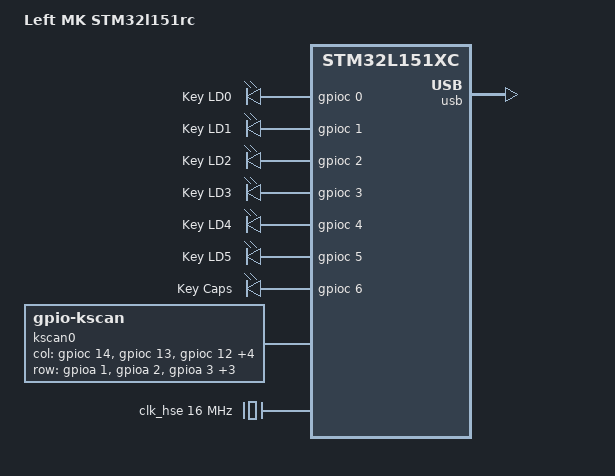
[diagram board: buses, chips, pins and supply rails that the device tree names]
/dts-v1/;
#include <st/l1/stm32l151Xc.dtsi>
#include <st/l1/stm32l151rctx-pinctrl.dtsi>
#include <zephyr/dt-bindings/pinctrl/stm32-pinctrl.h>

#include "leftmk_l1-pinctrl.dtsi"

// NOTE: We are a category 3 device in the reference manual

/ {
	model = "Left MK STM32l151rc";
	compatible = "leftmk_l1";

	chosen {
		zephyr,console = &cdc_acm_uart0;
		zephyr,sram = &sram0;
		zephyr,flash = &flash0;
		zephyr,keyboard-scan = &kscan0;
	};

	leds {
		compatible = "gpio-leds";
		led0: ld0 {
			gpios = <&gpioc 0 GPIO_ACTIVE_HIGH>;
			label = "Key LD0";
		};
		led1: ld1 {
			gpios = <&gpioc 1 GPIO_ACTIVE_HIGH>;
			label = "Key LD1";
		};
		led2: ld2 {
			gpios = <&gpioc 2 GPIO_ACTIVE_HIGH>;
			label = "Key LD2";
		};
		led3: ld3 {
			gpios = <&gpioc 3 GPIO_ACTIVE_HIGH>;
			label = "Key LD3";
		};
		led4: ld4 {
			gpios = <&gpioc 4 GPIO_ACTIVE_HIGH>;
			label = "Key LD4";
		};
		led5: ld5 {
			gpios = <&gpioc 5 GPIO_ACTIVE_HIGH>;
			label = "Key LD5";
		};
		caps0: cps0 {
			gpios = <&gpioc 6 GPIO_ACTIVE_HIGH>;
			label = "Key Caps";
		};
	};

	kscan0: kscan_0 {
		compatible = "zephyr,gpio-kscan";
		pinctrl-0 = < \
			&kscan_col0 \
			&kscan_col1 \
			&kscan_col2 \
			&kscan_col3 \
			&kscan_col4 \
			&kscan_col5 \
			&kscan_col6 \
			&kscan_row0 \
			&kscan_row1 \
			&kscan_row2 \
			&kscan_row3 \
			&kscan_row4 \
			&kscan_row5 \
			>;
		pinctrl-names = "default";

		col-gpios = <&gpioc 14 (GPIO_ACTIVE_HIGH)>,
			<&gpioc 13 (GPIO_ACTIVE_HIGH)>,
			<&gpioc 12 (GPIO_ACTIVE_HIGH)>,
			<&gpioc 11 (GPIO_ACTIVE_HIGH)>,
			<&gpioc 10 (GPIO_ACTIVE_HIGH)>,
			<&gpioc 9 (GPIO_ACTIVE_HIGH)>,
			<&gpioc 8 (GPIO_ACTIVE_HIGH)>;
		row-gpios = <&gpioa 1 (GPIO_PULL_DOWN | GPIO_ACTIVE_HIGH)>,
			<&gpioa 2 (GPIO_PULL_DOWN | GPIO_ACTIVE_HIGH)>,
			<&gpioa 3 (GPIO_PULL_DOWN | GPIO_ACTIVE_HIGH)>,
			<&gpioa 4 (GPIO_PULL_DOWN | GPIO_ACTIVE_HIGH)>,
			<&gpioa 5 (GPIO_PULL_DOWN | GPIO_ACTIVE_HIGH)>,
			<&gpioa 6 (GPIO_PULL_DOWN | GPIO_ACTIVE_HIGH)>;
	};

	soc {
		usb: usb@40005c00 {
			compatible = "st,stm32-usb";
			reg = <0x40005c00 0x400>;
			interrupts = <20 0>, <19 0>;
			interrupt-names = "usb", "usbhp";
			num-bidir-endpoints = <8>;
			ram-size = <512>;
			clocks = <&rcc STM32_CLOCK_BUS_APB1 0x00800000>;
			status = "okay";
		};
	};

	aliases {
		led0 = &led0;
		led1 = &led1;
		led2 = &led2;
		led3 = &led3;
		led4 = &led4;
		led5 = &led5;
		caps0 = &caps0;
		kscan0 = &kscan0;
	};
};

&clk_hse {
	clock-frequency = <DT_FREQ_M(16)>;
	status = "okay";
};

&pll {
	div = <3>; // 4
	mul = <6>; // 8
	/* out of the box, MCO from stlink is not enabled, unlike later discos */
	clocks = <&clk_hse>;
	status = "okay";
};

&rcc {
	clocks = <&pll>;
	clock-frequency = <DT_FREQ_M(32)>;
	ahb-prescaler = <1>;
	apb1-prescaler = <1>;
	apb2-prescaler = <1>;
};

&usart3 {
	pinctrl-0 = <&usart3_tx_pb10 &usart3_rx_pb11>;
	pinctrl-names = "default";
	current-speed = <115200>;
	status = "disabled";
};

&i2c1 {
	pinctrl-0 = <&i2c1_scl_pb6 &i2c1_sda_pb7>;
	pinctrl-names = "default";
	status = "disabled";
	clock-frequency = <I2C_BITRATE_FAST>;
};

zephyr_udc0: &usb {
	cdc_acm_uart0: cdc_acm_uart0 {
		compatible = "zephyr,cdc-acm-uart";
		label = "CDC_ACM_0";
	};
};
